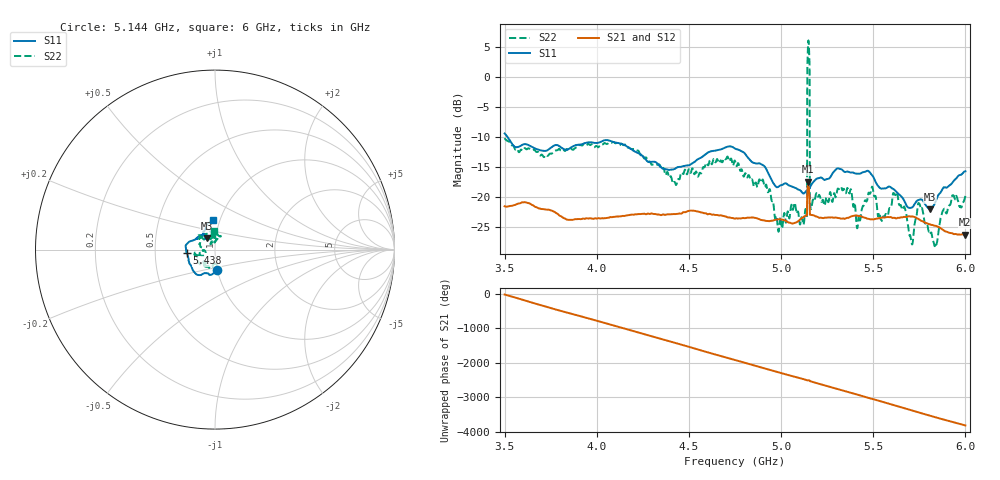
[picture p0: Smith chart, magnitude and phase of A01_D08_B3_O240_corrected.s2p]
! Created with skrf 1.9.0 (http://scikit-rf.org).
# Hz S RI R 50.0
!freq ReS11 ImS11 ReS21 ImS21 ReS12 ImS12 ReS22 ImS22
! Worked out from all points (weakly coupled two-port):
!   1601 points, 3.5 GHz to 6 GHz, reference 50 ohm
!   highest |S21| = -17.49 dB at 5.147 GHz (marker M1); lowest = -26.4 dB at 5.997 GHz (marker M2)
!   lowest |S11| = -22.1 dB at 5.808 GHz (marker M3), VSWR 1.17, Z = 45.2 + j5.73 ohm
!   |S11| at or under -10 dB: 3.516 GHz to end of sweep
!   |S22| runs from -28.3 to 6.2 dB; largest |S21 - S12| = 0.0015
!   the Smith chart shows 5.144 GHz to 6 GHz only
!   S11 on the Smith chart (normalised r, x): 5.144 GHz: 1.00, -0.23; 5.438 GHz: 0.73, -0.03; 6 GHz: 0.93, +0.31
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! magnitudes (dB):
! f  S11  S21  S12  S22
! 3.5 GHz  -9.4  -21.6  -21.6  -10.2
! 3.917 GHz  -11.2  -23.8  -23.7  -11.4
! 4.334 GHz  -14.6  -23.0  -23.0  -14.7
! 4.423 GHz  -15.3  -22.9  -22.9  -17.6
! 4.75 GHz  -11.9  -23.7  -23.6  -14.0
! 4.909 GHz  -14.9  -24.0  -24.0  -18.3
! 4.994 GHz  -18.1  -23.8  -23.8  -23.6
! 5.112 GHz  -19.2  -23.6  -23.6  -23.5
! 5.128 GHz  -19.4  -23.3  -23.3  -23.1
! 5.144 GHz  -18.8  -18.6  -18.6  3.1
! 5.147 GHz  -18.8  -17.5  -17.5  5.8
! 5.155 GHz  -18.5  -20.5  -20.5  2.1
! 5.167 GHz  -17.8  -23.1  -23.1  -21.5
! 5.438 GHz  -16.0  -23.3  -23.4  -22.1
! 5.487 GHz  -16.2  -23.8  -23.8  -19.1
! 5.584 GHz  -18.3  -23.4  -23.4  -22.4
! 5.622 GHz  -19.1  -23.6  -23.7  -19.7
! 5.706 GHz  -21.9  -23.3  -23.3  -27.4
! 5.753 GHz  -20.5  -23.9  -23.9  -21.4
! 5.808 GHz  -22.1  -24.6  -24.6  -26.2
! 5.997 GHz  -15.8  -26.4  -26.3  -20.3
! 6 GHz  -15.8  -26.4  -26.4  -19.9
